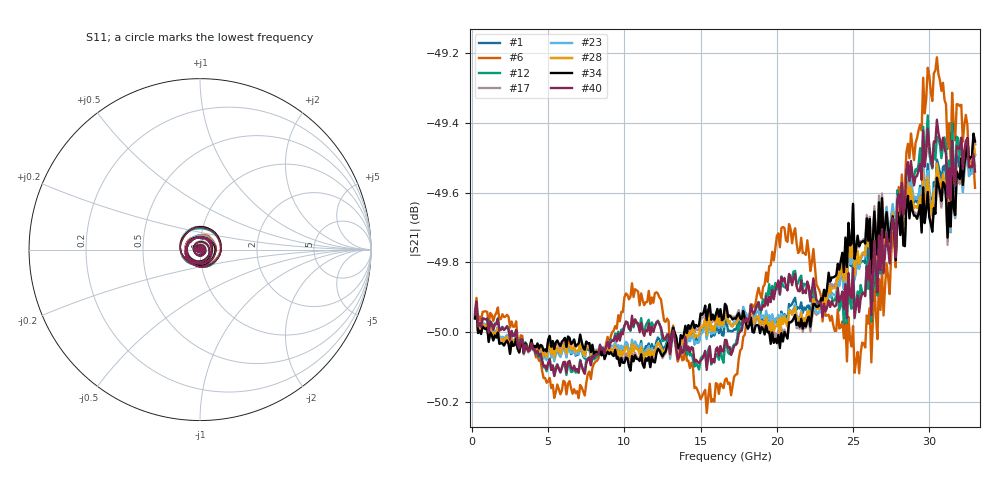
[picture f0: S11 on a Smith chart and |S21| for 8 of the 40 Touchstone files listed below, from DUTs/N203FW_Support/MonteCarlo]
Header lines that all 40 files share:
# GHZ S RI R 50
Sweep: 200 MHz to 33 GHz
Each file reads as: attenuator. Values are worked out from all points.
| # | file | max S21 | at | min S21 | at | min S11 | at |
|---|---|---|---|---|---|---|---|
| 1 | N203FW_0.s2p | -49.45 dB | 32.5 GHz | -50.1 dB | 7.4 GHz | -47.6 dB | 2.3 GHz |
| 2 | N203FW_2.s2p | -49.44 dB | 32.9 GHz | -50.1 dB | 9.7 GHz | -47.2 dB | 2.5 GHz |
| 3 | N203FW_4.s2p | -49.42 dB | 32.5 GHz | -50.1 dB | 7.4 GHz | -48.5 dB | 2.4 GHz |
| 4 | N203FW_5.s2p | -49.39 dB | 33 GHz | -50.1 dB | 10.4 GHz | -48.6 dB | 2.5 GHz |
| 5 | N203FW_6.s2p | -49.45 dB | 32.5 GHz | -50.1 dB | 10.4 GHz | -47.7 dB | 2.4 GHz |
| 6 | N203FW_10.s2p | -49.21 dB | 30.5 GHz | -50.2 dB | 15.4 GHz | -47.8 dB | 2.3 GHz |
| 7 | N203FW_13.s2p | -49.42 dB | 32.9 GHz | -50.1 dB | 10.4 GHz | -47.8 dB | 2.5 GHz |
| 8 | N203FW_17.s2p | -49.33 dB | 29.9 GHz | -50.1 dB | 5.4 GHz | -49.4 dB | 2.3 GHz |
| 9 | N203FW_19.s2p | -49.37 dB | 33 GHz | -50.1 dB | 10.4 GHz | -48.0 dB | 2.6 GHz |
| 10 | N203FW_25.s2p | -49.38 dB | 29.9 GHz | -50.1 dB | 5.4 GHz | -47.1 dB | 2.1 GHz |
| 11 | N203FW_28.s2p | -49.46 dB | 32.5 GHz | -50.1 dB | 5.4 GHz | -48.9 dB | 2.3 GHz |
| 12 | N203FW_29.s2p | -49.38 dB | 29.9 GHz | -50.1 dB | 5.4 GHz | -48.9 dB | 2.3 GHz |
| 13 | N203FW_30.s2p | -49.45 dB | 32.5 GHz | -50.1 dB | 5.4 GHz | -47.1 dB | 2.3 GHz |
| 14 | N203FW_32.s2p | -49.43 dB | 32.9 GHz | -50.1 dB | 10.4 GHz | -48.0 dB | 2.4 GHz |
| 15 | N203FW_33.s2p | -49.44 dB | 32.9 GHz | -50.1 dB | 10.4 GHz | -47.8 dB | 2.5 GHz |
| 16 | N203FW_34.s2p | -49.48 dB | 32.9 GHz | -50.1 dB | 11.3 GHz | -47.8 dB | 2.3 GHz |
| 17 | N203FW_35.s2p | -49.45 dB | 32.9 GHz | -50.1 dB | 11.3 GHz | -47.3 dB | 2.5 GHz |
| 18 | N203FW_38.s2p | -49.41 dB | 32.9 GHz | -50.1 dB | 10.4 GHz | -47.6 dB | 2.5 GHz |
| 19 | N203FW_40.s2p | -49.33 dB | 30.5 GHz | -50.1 dB | 15.4 GHz | -47.6 dB | 2.3 GHz |
| 20 | N203FW_42.s2p | -49.45 dB | 32.5 GHz | -50.1 dB | 5.4 GHz | -47.0 dB | 2.4 GHz |
| 21 | N203FW_48.s2p | -49.44 dB | 33 GHz | -50.1 dB | 10.4 GHz | -48.2 dB | 2.5 GHz |
| 22 | N203FW_50.s2p | -49.35 dB | 33 GHz | -50.1 dB | 10.4 GHz | -48.8 dB | 2.5 GHz |
| 23 | N203FW_52.s2p | -49.48 dB | 32.5 GHz | -50.1 dB | 5.4 GHz | -47.3 dB | 2.4 GHz |
| 24 | N203FW_53.s2p | -49.47 dB | 32.5 GHz | -50.1 dB | 5.4 GHz | -47.1 dB | 2.4 GHz |
| 25 | N203FW_55.s2p | -49.41 dB | 29.9 GHz | -50.1 dB | 5.4 GHz | -49.1 dB | 2.3 GHz |
| 26 | N203FW_56.s2p | -49.33 dB | 30.5 GHz | -50.2 dB | 15.4 GHz | -47.6 dB | 2.3 GHz |
| 27 | N203FW_59.s2p | -49.35 dB | 30.5 GHz | -50.1 dB | 5.4 GHz | -48.0 dB | 2.3 GHz |
| 28 | N203FW_60.s2p | -49.45 dB | 32.5 GHz | -50.1 dB | 11.3 GHz | -48.2 dB | 2.4 GHz |
| 29 | N203FW_62.s2p | -49.42 dB | 32.5 GHz | -50.1 dB | 11.3 GHz | -47.7 dB | 2.4 GHz |
| 30 | N203FW_63.s2p | -49.43 dB | 33 GHz | -50.1 dB | 10.4 GHz | -48.5 dB | 2.5 GHz |
| 31 | N203FW_66.s2p | -49.35 dB | 33 GHz | -50.1 dB | 10.4 GHz | -48.5 dB | 2.5 GHz |
| 32 | N203FW_67.s2p | -49.41 dB | 32.9 GHz | -50.1 dB | 10.4 GHz | -48.1 dB | 2.5 GHz |
| 33 | N203FW_69.s2p | -39.47 dB | 31.3 GHz | -50.4 dB | 15.4 GHz | -50.8 dB | 1 GHz |
| 34 | N203FW_71.s2p | -49.43 dB | 32.9 GHz | -50.1 dB | 10.4 GHz | -48.0 dB | 2.5 GHz |
| 35 | N203FW_73.s2p | -49.41 dB | 33 GHz | -50.1 dB | 10.4 GHz | -48.4 dB | 2.5 GHz |
| 36 | N203FW_74.s2p | -49.45 dB | 32.9 GHz | -50.1 dB | 10.4 GHz | -47.5 dB | 2.5 GHz |
| 37 | N203FW_75.s2p | -49.14 dB | 30.5 GHz | -50.3 dB | 15.4 GHz | -50.4 dB | 1 GHz |
| 38 | N203FW_79.s2p | -49.45 dB | 33 GHz | -50.1 dB | 10.4 GHz | -47.4 dB | 2.6 GHz |
| 39 | N203FW_80.s2p | -49.34 dB | 29.9 GHz | -50.2 dB | 15.4 GHz | -49.0 dB | 2.3 GHz |
| 40 | N203FW_81.s2p | -49.39 dB | 30.5 GHz | -50.1 dB | 5.4 GHz | -49.0 dB | 2.3 GHz |
